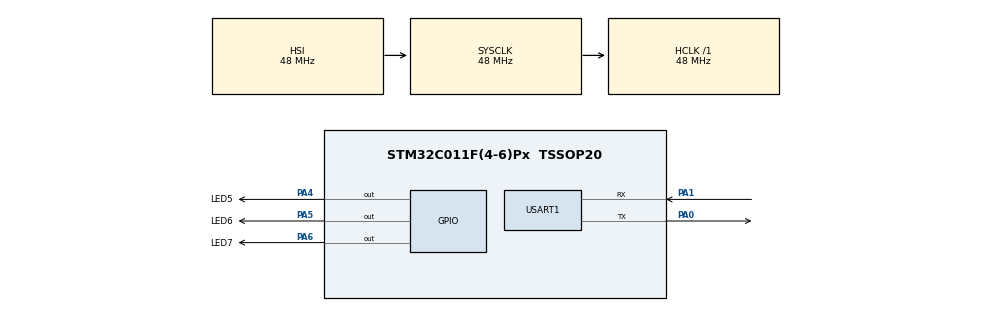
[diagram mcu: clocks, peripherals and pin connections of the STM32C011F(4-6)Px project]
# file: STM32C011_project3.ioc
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Mcu.Family=STM32C0
Mcu.Name=STM32C011F(4-6)Px
Mcu.Package=TSSOP20
PA0.Mode=Asynchronous
PA0.Signal=USART1_TX
PA1.Mode=Asynchronous
PA1.Signal=USART1_RX
PA4.GPIO_Label=LED5
PA4.Signal=GPIO_Output
PA5.GPIO_Label=LED6
PA5.Signal=GPIO_Output
PA6.GPIO_Label=LED7
PA6.Signal=GPIO_Output
ProjectManager.HeapSize=0x400
ProjectManager.StackSize=0x800
ProjectManager.TargetToolchain=MDK-ARM V5.37
RCC.ADCFreq_Value=48000000
RCC.AHBFreq_Value=48000000
RCC.CortexFreq_Value=48000000
RCC.EXTERNAL_CLOCK_VALUE=12288000
RCC.HCLKFreq_Value=48000000
RCC.HSE_VALUE=8000000
RCC.HSISYSCLKDivider=RCC_HSI_DIV1
RCC.HSI_VALUE=48000000
RCC.LSE_VALUE=32768
RCC.SYSCLKFreq_VALUE=48000000
USART1.VirtualMode-Asynchronous=VM_ASYNC
board=custom

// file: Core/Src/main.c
/* USER CODE BEGIN Header */
/**
  ******************************************************************************
  * @file           : main.c
  * @brief          : Main program body
  ******************************************************************************
  * @attention
  *
  * Copyright (c) 2024 STMicroelectronics.
  * All rights reserved.
  *
  * This software is licensed under terms that can be found in the LICENSE file
  * in the root directory of this software component.
  * If no LICENSE file comes with this software, it is provided AS-IS.
  *
  ******************************************************************************
  */
/* USER CODE END Header */
#include "main.h"
#include "usart.h"
#include "gpio.h"

/* USER CODE BEGIN Includes */
#include "stdio.h"
/* USER CODE END Includes */

void SystemClock_Config(void);
/* USER CODE BEGIN PFP */
int fputc(int ch, FILE *f){
	HAL_UART_Transmit(&huart1 , (uint8_t *)&ch, 1, 0xFFFF);
	return ch;
}
/* USER CODE END PFP */

/* USER CODE BEGIN 0 */
uint64_t WriteFlashData[3] = {0x1111222233334444,0x5555666677778888,0x9999AAAABBBBCCCC};//数据

uint32_t addr = 0x08003800;//page 7
uint32_t		Page = 7;

void PrintFlashTest(uint32_t L,uint32_t Page);
void WriteFlashTest(uint32_t L,uint64_t Data[],uint32_t Page,uint32_t addr);

/* USER CODE END 0 */

int main(void)
{

  /* MCU Configuration--------------------------------------------------------*/

  /* Reset of all peripherals, Initializes the Flash interface and the Systick. */
  HAL_Init();

  /* Configure the system clock */
  SystemClock_Config();

  /* Initialize all configured peripherals */
  MX_GPIO_Init();
  MX_USART1_UART_Init();
  /* USER CODE BEGIN 2 */
    printf("=== First Write and Read ===\n");
	WriteFlashTest(3,WriteFlashData,Page,addr);
	PrintFlashTest(3,addr);//WriteFlashData[3] = {0x1111222233334444,0x5555666677778888,0x9999AAAABBBBCCCC};//数据
    printf("\n=== Modify Data and Rewrite ===\n");
	WriteFlashData[0]=0x9999;
	WriteFlashData[1]=0x8888;
	WriteFlashData[2]=0x7777;
	WriteFlashTest(3,WriteFlashData,Page,addr);
	PrintFlashTest(3,addr);
  /* USER CODE END 2 */

  /* Infinite loop */
  while (1)
  {

  }
}

void SystemClock_Config(void)
{
  RCC_OscInitTypeDef RCC_OscInitStruct = {0};
  RCC_ClkInitTypeDef RCC_ClkInitStruct = {0};

  /** Initializes the RCC Oscillators according to the specified parameters
  * in the RCC_OscInitTypeDef structure.
  */
  RCC_OscInitStruct.OscillatorType = RCC_OSCILLATORTYPE_HSI;
  RCC_OscInitStruct.HSIState = RCC_HSI_ON;
  RCC_OscInitStruct.HSIDiv = RCC_HSI_DIV1;
  RCC_OscInitStruct.HSICalibrationValue = RCC_HSICALIBRATION_DEFAULT;
  if (HAL_RCC_OscConfig(&RCC_OscInitStruct) != HAL_OK)
  {
    Error_Handler();
  }

  /** Initializes the CPU, AHB and APB buses clocks
  */
  RCC_ClkInitStruct.ClockType = RCC_CLOCKTYPE_HCLK|RCC_CLOCKTYPE_SYSCLK
                              |RCC_CLOCKTYPE_PCLK1;
  RCC_ClkInitStruct.SYSCLKSource = RCC_SYSCLKSOURCE_HSI;
  RCC_ClkInitStruct.SYSCLKDivider = RCC_SYSCLK_DIV1;
  RCC_ClkInitStruct.AHBCLKDivider = RCC_HCLK_DIV1;
  RCC_ClkInitStruct.APB1CLKDivider = RCC_APB1_DIV1;

  if (HAL_RCC_ClockConfig(&RCC_ClkInitStruct, FLASH_LATENCY_1) != HAL_OK)
  {
    Error_Handler();
  }
}

/* USER CODE BEGIN 4 */
/* FLASH 写入程序 */
void WriteFlashTest(uint32_t L, uint64_t Data[], uint32_t Page, uint32_t addr)
{
    uint32_t i = 0;
    uint32_t PageError = 0;

    // 1/4 解锁 FLASH
    if (HAL_FLASH_Unlock() != HAL_OK)
    {
        printf("Error: Failed to unlock FLASH.\n");
        return;
    }

    // 2/4 初始化擦除结构体并擦除指定页
    FLASH_EraseInitTypeDef FlashSet;
    FlashSet.TypeErase = FLASH_TYPEERASE_PAGES; // 擦除类型：页擦除
    FlashSet.Page = Page;                       // 页索引
    FlashSet.NbPages = 1;                       // 一次擦除 1 页

    if (HAL_FLASHEx_Erase(&FlashSet, &PageError) != HAL_OK)
    {
        printf("Error: Failed to erase FLASH. PageError: %d\n", PageError);
        HAL_FLASH_Lock();
        return;
    }
    printf("FLASH Page %u erased successfully.\n", Page);

    // 3/4 将数据写入指定地址
    for (i = 0; i < L; i++)
    {
        if (HAL_FLASH_Program(TYPEPROGRAM_DOUBLEWORD, addr + 8 * i, Data[i]) != HAL_OK)
        {
            printf("Error: FLASH program failed at address 0x%08X.\n", addr + 8 * i);
            HAL_FLASH_Lock();
            return;
        }
    }
    printf("FLASH programming completed successfully.\n");

    // 4/4 锁住 FLASH
    HAL_FLASH_Lock();
}

/* FLASH 读取并打印程序 */
void PrintFlashTest(uint32_t L, uint32_t addr)
{
    uint32_t i = 0;
    uint64_t data = 0;

    printf("Reading FLASH data from address 0x%08X:\n", addr);

    for (i = 0; i < L; i++)
    {
        data = *(__IO uint64_t *)(addr + i * 8); // 按 64 位读取数据
				printf("Address: 0x%08X, Data: 0x%016llX\n", addr + i * 8, data);

    }

    printf("FLASH read completed.\n");
}
/* USER CODE END 4 */

void Error_Handler(void)
{
  __disable_irq();
  while (1)
  {
  }
}
